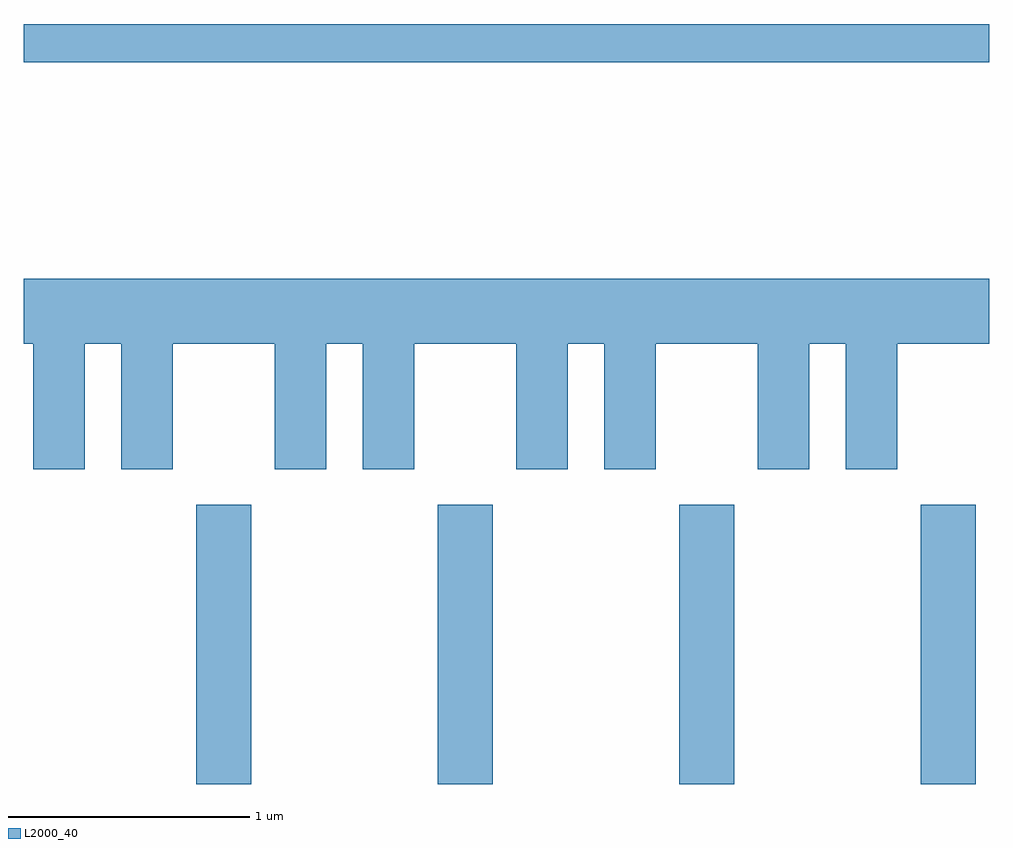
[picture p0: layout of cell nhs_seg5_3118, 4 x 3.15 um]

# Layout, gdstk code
import gdstk
lib = gdstk.Library(unit=1e-6, precision=1e-09)
def R(c, l, rs):  # rectangles x0, y0, x1, y1
    for r in rs: c.add(gdstk.rectangle(r[:2], r[2:], *l))
def A(c, l, x, y, w, h, nx, ny, dx, dy):  # array of equal rectangles
    R(c, l, [(x+i*dx, y+j*dy, x+i*dx+w, y+j*dy+h) for i in range(nx) for j in range(ny)])
def P(c, l, *ps):  # polygons
    for p in ps: c.add(gdstk.Polygon(p, *l))
L2000_40 = (2000, 40)

nhs_seg5_3118 = lib.new_cell('nhs_seg5_3118')
A(nhs_seg5_3118, L2000_40, 278.326, 1466.072, 0.228, 1.157, 4, 1, 1, 0)
R(nhs_seg5_3118, L2000_40, [(277.611,1469.061,281.611,1469.219)])
P(nhs_seg5_3118, L2000_40, [(277.864,1467.896),(278.016,1467.896),(278.016,1467.376),(278.229,1467.376),(278.229,1467.896),(278.651,1467.896),(278.651,1467.376),(278.864,1467.376),(278.864,1467.896),(279.016,1467.896),(279.016,1467.376),(279.229,1467.376),(279.229,1467.896),(279.651,1467.896),(279.651,1467.376),(279.864,1467.376),(279.864,1467.896),(280.016,1467.896),(280.016,1467.376),(280.229,1467.376),(280.229,1467.896),(280.651,1467.896),(280.651,1467.376),(280.864,1467.376),(280.864,1467.896),(281.016,1467.896),(281.016,1467.376),(281.229,1467.376),(281.229,1467.896),(281.611,1467.896),(281.611,1468.164),(277.611,1468.164),(277.611,1467.896),(277.651,1467.896),(277.651,1467.376),(277.864,1467.376)])

lib.write_gds('nhs_seg5_3118.gds')
